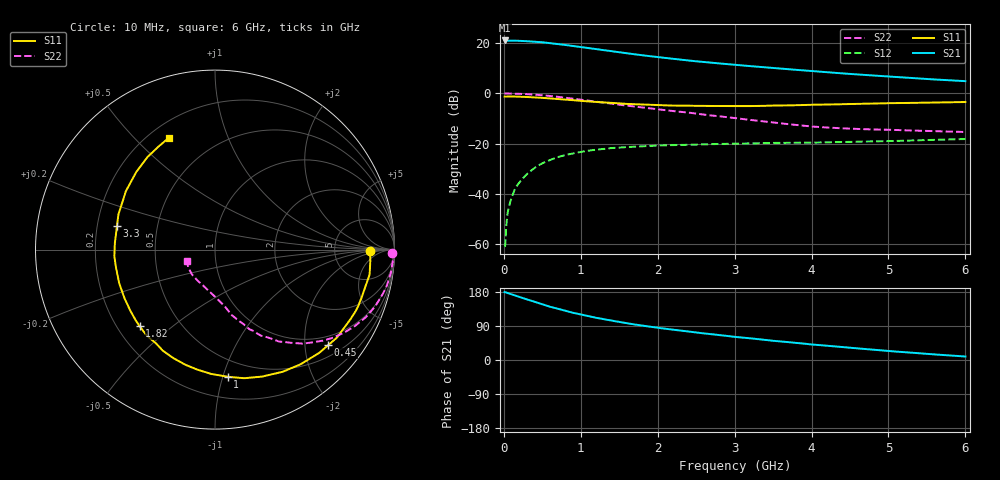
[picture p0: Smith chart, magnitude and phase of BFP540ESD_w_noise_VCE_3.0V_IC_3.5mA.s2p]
! Infineon Technologies  Discrete & RF Semiconductors
! BFP540ESD
! VCE =  3.0 V,  IC =  3.5 mA
! Common Emitter S-Parameters:  Nov 2015
# GHz  S  MA  R  50
!  f  S11  S21  S12  S22
! GHz  MAG  ANG  MAG  ANG  MAG  ANG  MAG  ANG
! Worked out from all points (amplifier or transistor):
!   210 points, 10 MHz to 6 GHz, reference 50 ohm
!   highest |S21| = 21.1 dB at 10 MHz (marker M1)
!   |S21| within 3 dB of that: start of sweep to 1.089 GHz
!   unconditionally stable (mu >= 1): 3.649 GHz to end of sweep
!   at 185 MHz: K = 0.02, MSG = 28.6 dB, |S12| = -36.2 dB
!   at 1.52 GHz: K = 0.38, MSG = 18.9 dB, |S12| = -21.6 dB
!   at 6 GHz: K = 1.29, MAG = 8.3 dB, |S12| = -18.2 dB
!   lowest NFmin = 0.64 dB at 900 MHz
!   S11 on the Smith chart (normalised r, x): 10 MHz: 14, -1; 450 MHz: 0.76, -2.53; 1 GHz: 0.36, -1.04; 1.82 GHz: 0.29, -0.39; 3.3 GHz: 0.28, +0.11; 6 GHz: 0.28, +0.63
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0.01  0.8649 -0.6  11.38 179.1  0.0009 79.3  0.9846 -1.2
0.02  0.8656 -2.0  11.3 178.9  0.001 86.6  0.9999 -1.1
0.03  0.8661 -2.8  11.29 178.1  0.0021 84.0  0.9982 -1.6
0.05  0.8677 -4.5  11.29 176.6  0.0042 82.7  0.995 -2.5
0.14  0.8648 -12.7  11.28 170.7  0.012 83.6  0.9889 -6.9
0.3  0.8491 -27.0  11 159.9  0.0246 77.7  0.9674 -14.7
0.45  0.825 -40.3  10.59 150.1  0.0365 71.2  0.933 -21.8
0.6  0.797 -53.4  10.05 140.6  0.047 64.9  0.8895 -28.5
0.7  0.778 -61.1  9.67 135.4  0.0536 60.8  0.8566 -32.6
0.8  0.7544 -69.7  9.258 129.7  0.0591 57.2  0.821 -36.7
1  0.7119 -84.3  8.397 120.1  0.0682 50.4  0.7504 -43.5
1.02  0.7073 -85.7  8.316 119.2  0.069 49.7  0.7433 -44.2
1.2  0.6755 -98.5  7.608 111.4  0.0754 44.1  0.6843 -49.6
1.4  0.648 -110.8  6.922 104.0  0.0814 39.5  0.6236 -55.2
1.82  0.5988 -134.5  5.711 90.2  0.0886 31.6  0.5185 -63.6
2.02  0.5816 -144.3  5.275 84.4  0.0915 29.2  0.4786 -66.9
2.6  0.5613 -169.1  4.224 70.2  0.0966 23.1  0.3768 -75.6
3.1  0.5582 173.0  3.611 59.3  0.1 19.9  0.309 -81.8
3.3  0.5618 166.4  3.404 55.2  0.1015 18.8  0.2852 -85.5
4.1  0.5963 144.4  2.722 39.4  0.1052 15.0  0.2139 -106.7
5.1  0.6408 124.6  2.124 22.2  0.113 12.5  0.1862 -135.3
6  0.6735 112.5  1.757 9.1  0.1231 11.2  0.1703 -157.9
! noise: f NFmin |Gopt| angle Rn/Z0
0.9  0.64  0.22  44  0.14
1.8  0.9  0.18  97  0.12
2.4  0.92  0.21  112  0.1
3  1.1  0.26  147  0.09
4  1.35  0.28  -137  0.14
5  1.65  0.41  -105  0.31
6  1.85  0.54  -104  0.47
